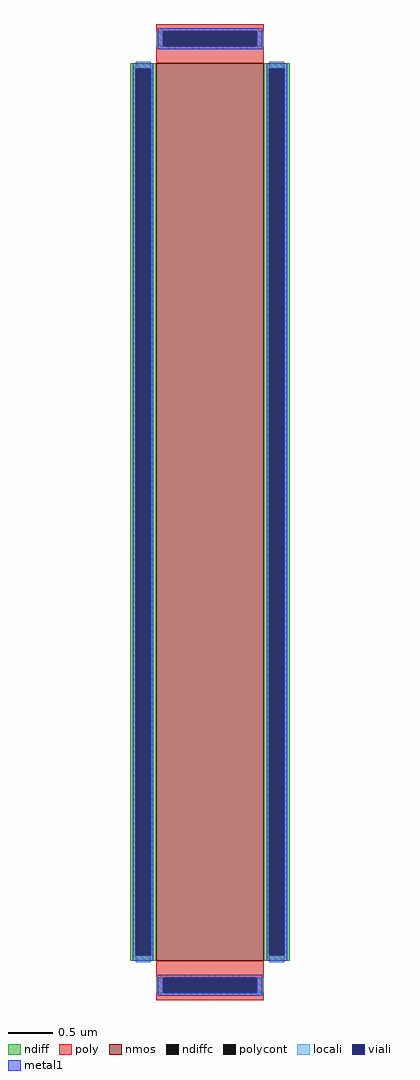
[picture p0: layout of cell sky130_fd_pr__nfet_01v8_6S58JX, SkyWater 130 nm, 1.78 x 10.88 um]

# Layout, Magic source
magic
tech sky130A
<< nmos >>
rect -60 -500 60 500
<< ndiff >>
rect -89 494 -60 500
rect -89 -494 -83 494
rect -66 -494 -60 494
rect -89 -500 -60 -494
rect 60 494 89 500
rect 60 -494 66 494
rect 83 -494 89 494
rect 60 -500 89 -494
<< ndiffc >>
rect -83 -494 -66 494
rect 66 -494 83 494
<< poly >>
rect -60 536 60 544
rect -60 519 -52 536
rect 52 519 60 536
rect -60 500 60 519
rect -60 -519 60 -500
rect -60 -536 -52 -519
rect 52 -536 60 -519
rect -60 -544 60 -536
<< polycont >>
rect -52 519 52 536
rect -52 -536 52 -519
<< locali >>
rect -60 519 -52 536
rect 52 519 60 536
rect -83 494 -66 502
rect -83 -502 -66 -494
rect 66 494 83 502
rect 66 -502 83 -494
rect -60 -536 -52 -519
rect 52 -536 60 -519
<< viali >>
rect -52 519 52 536
rect -83 -494 -66 494
rect 66 -494 83 494
rect -52 -536 52 -519
<< metal1 >>
rect -58 536 58 539
rect -58 519 -52 536
rect 52 519 58 536
rect -58 516 58 519
rect -86 494 -63 500
rect -86 -494 -83 494
rect -66 -494 -63 494
rect -86 -500 -63 -494
rect 63 494 86 500
rect 63 -494 66 494
rect 83 -494 86 494
rect 63 -500 86 -494
rect -58 -519 58 -516
rect -58 -536 -52 -519
rect 52 -536 58 -519
rect -58 -539 58 -536
<< properties >>
string gencell sky130_fd_pr__nfet_01v8
string library sky130
string parameters w 10 l 1.2 m 1 nf 1 diffcov 100 polycov 100 guard 0 glc 1 grc 1 gtc 1 gbc 1 tbcov 100 rlcov 100 topc 1 botc 1 poverlap 0 doverlap 1 lmin 0.15 wmin 0.42 compatible {sky130_fd_pr__nfet_01v8 sky130_fd_pr__nfet_01v8_lvt  sky130_fd_bs_flash__special_sonosfet_star  sky130_fd_pr__nfet_g5v0d10v5 sky130_fd_pr__nfet_05v0_nvt  sky130_fd_pr__nfet_03v3_nvt} full_metal 1 viasrc 100 viadrn 100 viagate 100 viagb 0 viagr 0 viagl 0 viagt 0
<< end >>
